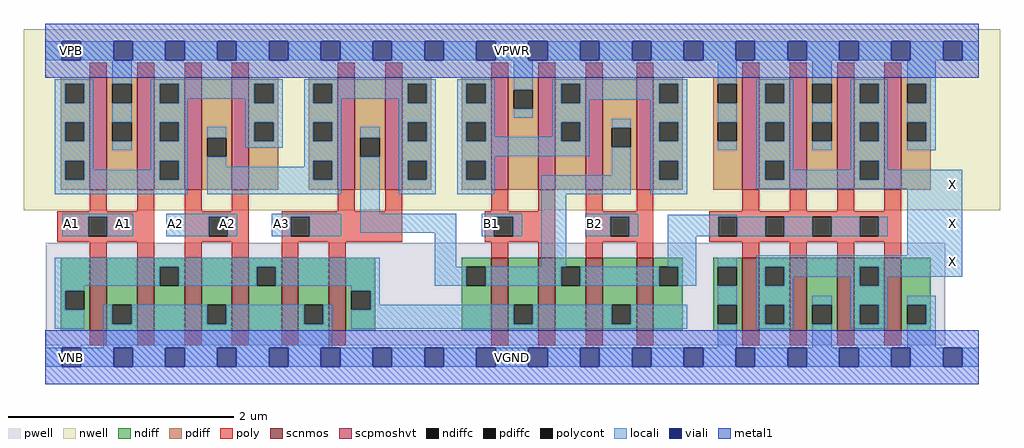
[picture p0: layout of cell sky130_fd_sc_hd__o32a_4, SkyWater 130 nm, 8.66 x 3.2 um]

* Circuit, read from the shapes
.subckt sky130_fd_sc_hd__o32a_4 A1 A2 A3 B1 B2 VGND VNB VPB VPWR X
XM1 VGND A1 n1 VNB sky130_fd_pr__nfet_01v8 w=0.65 l=0.15 m=2
XM2 VGND A2 n1 VNB sky130_fd_pr__nfet_01v8 w=0.65 l=0.15 m=2
XM3 VGND A3 n1 VNB sky130_fd_pr__nfet_01v8 w=0.65 l=0.15 m=2
XM4 n1 B1 n2 VNB sky130_fd_pr__nfet_01v8 w=0.65 l=0.15 m=2
XM5 n1 B2 n2 VNB sky130_fd_pr__nfet_01v8 w=0.65 l=0.15 m=2
XM6 X n2 VGND VNB sky130_fd_pr__nfet_01v8 w=0.65 l=0.15 m=4
XM7 VPWR A1 n3 VPB sky130_fd_pr__pfet_01v8_hvt w=1 l=0.15 m=2
XM8 n4 A2 n3 VPB sky130_fd_pr__pfet_01v8_hvt w=1 l=0.15 m=2
XM9 n2 A3 n4 VPB sky130_fd_pr__pfet_01v8_hvt w=1 l=0.15 m=2
XM10 VPWR B1 n5 VPB sky130_fd_pr__pfet_01v8_hvt w=1 l=0.15 m=2
XM11 n2 B2 n5 VPB sky130_fd_pr__pfet_01v8_hvt w=1 l=0.15 m=2
XM12 X n2 VPWR VPB sky130_fd_pr__pfet_01v8_hvt w=1 l=0.15 m=4
.ends

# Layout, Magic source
magic
tech sky130B
magscale 1 2
<< nwell >>
rect -38 261 1694 582
<< pwell >>
rect 1 21 1597 203
rect 30 -17 64 21
<< scnmos >>
rect 79 47 109 177
rect 163 47 193 177
rect 247 47 277 177
rect 331 47 361 177
rect 419 47 449 177
rect 503 47 533 177
rect 791 47 821 177
rect 875 47 905 177
rect 959 47 989 177
rect 1049 47 1079 177
rect 1237 47 1267 177
rect 1321 47 1351 177
rect 1405 47 1435 177
rect 1489 47 1519 177
<< scpmoshvt >>
rect 79 297 109 497
rect 163 297 193 497
rect 247 297 277 497
rect 331 297 361 497
rect 519 297 549 497
rect 603 297 633 497
rect 791 297 821 497
rect 875 297 905 497
rect 959 297 989 497
rect 1049 297 1079 497
rect 1237 297 1267 497
rect 1321 297 1351 497
rect 1405 297 1435 497
rect 1489 297 1519 497
<< ndiff >>
rect 27 118 79 177
rect 27 84 35 118
rect 69 84 79 118
rect 27 47 79 84
rect 109 93 163 177
rect 109 59 119 93
rect 153 59 163 93
rect 109 47 163 59
rect 193 161 247 177
rect 193 127 203 161
rect 237 127 247 161
rect 193 47 247 127
rect 277 93 331 177
rect 277 59 287 93
rect 321 59 331 93
rect 277 47 331 59
rect 361 161 419 177
rect 361 127 375 161
rect 409 127 419 161
rect 361 47 419 127
rect 449 93 503 177
rect 449 59 459 93
rect 493 59 503 93
rect 449 47 503 59
rect 533 118 585 177
rect 533 84 543 118
rect 577 84 585 118
rect 533 47 585 84
rect 739 161 791 177
rect 739 127 747 161
rect 781 127 791 161
rect 739 47 791 127
rect 821 93 875 177
rect 821 59 831 93
rect 865 59 875 93
rect 821 47 875 59
rect 905 161 959 177
rect 905 127 915 161
rect 949 127 959 161
rect 905 47 959 127
rect 989 93 1049 177
rect 989 59 1005 93
rect 1039 59 1049 93
rect 989 47 1049 59
rect 1079 161 1131 177
rect 1079 127 1089 161
rect 1123 127 1131 161
rect 1079 47 1131 127
rect 1185 161 1237 177
rect 1185 127 1193 161
rect 1227 127 1237 161
rect 1185 93 1237 127
rect 1185 59 1193 93
rect 1227 59 1237 93
rect 1185 47 1237 59
rect 1267 161 1321 177
rect 1267 127 1277 161
rect 1311 127 1321 161
rect 1267 93 1321 127
rect 1267 59 1277 93
rect 1311 59 1321 93
rect 1267 47 1321 59
rect 1351 93 1405 177
rect 1351 59 1361 93
rect 1395 59 1405 93
rect 1351 47 1405 59
rect 1435 161 1489 177
rect 1435 127 1445 161
rect 1479 127 1489 161
rect 1435 93 1489 127
rect 1435 59 1445 93
rect 1479 59 1489 93
rect 1435 47 1489 59
rect 1519 93 1571 177
rect 1519 59 1529 93
rect 1563 59 1571 93
rect 1519 47 1571 59
<< pdiff >>
rect 27 485 79 497
rect 27 451 35 485
rect 69 451 79 485
rect 27 417 79 451
rect 27 383 35 417
rect 69 383 79 417
rect 27 349 79 383
rect 27 315 35 349
rect 69 315 79 349
rect 27 297 79 315
rect 109 485 163 497
rect 109 451 119 485
rect 153 451 163 485
rect 109 417 163 451
rect 109 383 119 417
rect 153 383 163 417
rect 109 297 163 383
rect 193 485 247 497
rect 193 451 203 485
rect 237 451 247 485
rect 193 417 247 451
rect 193 383 203 417
rect 237 383 247 417
rect 193 349 247 383
rect 193 315 203 349
rect 237 315 247 349
rect 193 297 247 315
rect 277 390 331 497
rect 277 356 287 390
rect 321 356 331 390
rect 277 297 331 356
rect 361 485 413 497
rect 361 451 371 485
rect 405 451 413 485
rect 361 417 413 451
rect 361 383 371 417
rect 405 383 413 417
rect 361 297 413 383
rect 467 485 519 497
rect 467 451 475 485
rect 509 451 519 485
rect 467 417 519 451
rect 467 383 475 417
rect 509 383 519 417
rect 467 349 519 383
rect 467 315 475 349
rect 509 315 519 349
rect 467 297 519 315
rect 549 390 603 497
rect 549 356 559 390
rect 593 356 603 390
rect 549 297 603 356
rect 633 485 685 497
rect 633 451 643 485
rect 677 451 685 485
rect 633 417 685 451
rect 633 383 643 417
rect 677 383 685 417
rect 633 349 685 383
rect 633 315 643 349
rect 677 315 685 349
rect 633 297 685 315
rect 739 485 791 497
rect 739 451 747 485
rect 781 451 791 485
rect 739 417 791 451
rect 739 383 747 417
rect 781 383 791 417
rect 739 349 791 383
rect 739 315 747 349
rect 781 315 791 349
rect 739 297 791 315
rect 821 475 875 497
rect 821 441 831 475
rect 865 441 875 475
rect 821 297 875 441
rect 905 485 959 497
rect 905 451 915 485
rect 949 451 959 485
rect 905 417 959 451
rect 905 383 915 417
rect 949 383 959 417
rect 905 297 959 383
rect 989 407 1049 497
rect 989 373 1005 407
rect 1039 373 1049 407
rect 989 297 1049 373
rect 1079 485 1131 497
rect 1079 451 1089 485
rect 1123 451 1131 485
rect 1079 417 1131 451
rect 1079 383 1089 417
rect 1123 383 1131 417
rect 1079 349 1131 383
rect 1079 315 1089 349
rect 1123 315 1131 349
rect 1079 297 1131 315
rect 1185 485 1237 497
rect 1185 451 1193 485
rect 1227 451 1237 485
rect 1185 417 1237 451
rect 1185 383 1193 417
rect 1227 383 1237 417
rect 1185 297 1237 383
rect 1267 485 1321 497
rect 1267 451 1277 485
rect 1311 451 1321 485
rect 1267 417 1321 451
rect 1267 383 1277 417
rect 1311 383 1321 417
rect 1267 349 1321 383
rect 1267 315 1277 349
rect 1311 315 1321 349
rect 1267 297 1321 315
rect 1351 485 1405 497
rect 1351 451 1361 485
rect 1395 451 1405 485
rect 1351 417 1405 451
rect 1351 383 1361 417
rect 1395 383 1405 417
rect 1351 297 1405 383
rect 1435 485 1489 497
rect 1435 451 1445 485
rect 1479 451 1489 485
rect 1435 417 1489 451
rect 1435 383 1445 417
rect 1479 383 1489 417
rect 1435 349 1489 383
rect 1435 315 1445 349
rect 1479 315 1489 349
rect 1435 297 1489 315
rect 1519 485 1571 497
rect 1519 451 1529 485
rect 1563 451 1571 485
rect 1519 417 1571 451
rect 1519 383 1529 417
rect 1563 383 1571 417
rect 1519 297 1571 383
<< ndiffc >>
rect 35 84 69 118
rect 119 59 153 93
rect 203 127 237 161
rect 287 59 321 93
rect 375 127 409 161
rect 459 59 493 93
rect 543 84 577 118
rect 747 127 781 161
rect 831 59 865 93
rect 915 127 949 161
rect 1005 59 1039 93
rect 1089 127 1123 161
rect 1193 127 1227 161
rect 1193 59 1227 93
rect 1277 127 1311 161
rect 1277 59 1311 93
rect 1361 59 1395 93
rect 1445 127 1479 161
rect 1445 59 1479 93
rect 1529 59 1563 93
<< pdiffc >>
rect 35 451 69 485
rect 35 383 69 417
rect 35 315 69 349
rect 119 451 153 485
rect 119 383 153 417
rect 203 451 237 485
rect 203 383 237 417
rect 203 315 237 349
rect 287 356 321 390
rect 371 451 405 485
rect 371 383 405 417
rect 475 451 509 485
rect 475 383 509 417
rect 475 315 509 349
rect 559 356 593 390
rect 643 451 677 485
rect 643 383 677 417
rect 643 315 677 349
rect 747 451 781 485
rect 747 383 781 417
rect 747 315 781 349
rect 831 441 865 475
rect 915 451 949 485
rect 915 383 949 417
rect 1005 373 1039 407
rect 1089 451 1123 485
rect 1089 383 1123 417
rect 1089 315 1123 349
rect 1193 451 1227 485
rect 1193 383 1227 417
rect 1277 451 1311 485
rect 1277 383 1311 417
rect 1277 315 1311 349
rect 1361 451 1395 485
rect 1361 383 1395 417
rect 1445 451 1479 485
rect 1445 383 1479 417
rect 1445 315 1479 349
rect 1529 451 1563 485
rect 1529 383 1563 417
<< poly >>
rect 79 497 109 523
rect 163 497 193 523
rect 247 497 277 523
rect 331 497 361 523
rect 519 497 549 523
rect 603 497 633 523
rect 791 497 821 523
rect 875 497 905 523
rect 959 497 989 523
rect 1049 497 1079 523
rect 1237 497 1267 523
rect 1321 497 1351 523
rect 1405 497 1435 523
rect 1489 497 1519 523
rect 79 259 109 297
rect 163 259 193 297
rect 21 249 193 259
rect 21 215 76 249
rect 110 215 193 249
rect 21 205 193 215
rect 79 177 109 205
rect 163 177 193 205
rect 247 259 277 297
rect 331 259 361 297
rect 519 259 549 297
rect 603 259 633 297
rect 791 259 821 297
rect 875 259 905 297
rect 247 249 361 259
rect 247 215 290 249
rect 324 215 361 249
rect 247 205 361 215
rect 247 177 277 205
rect 331 177 361 205
rect 419 249 633 259
rect 419 215 435 249
rect 469 215 633 249
rect 419 205 633 215
rect 780 249 905 259
rect 780 215 796 249
rect 830 215 905 249
rect 780 205 905 215
rect 419 177 449 205
rect 503 177 533 205
rect 791 177 821 205
rect 875 177 905 205
rect 959 259 989 297
rect 1049 259 1079 297
rect 1237 259 1267 297
rect 1321 259 1351 297
rect 1405 259 1435 297
rect 1489 259 1519 297
rect 959 249 1079 259
rect 959 215 1002 249
rect 1036 215 1079 249
rect 959 205 1079 215
rect 1178 249 1519 259
rect 1178 215 1194 249
rect 1228 215 1277 249
rect 1311 215 1361 249
rect 1395 215 1445 249
rect 1479 215 1519 249
rect 1178 205 1519 215
rect 959 177 989 205
rect 1049 177 1079 205
rect 1237 177 1267 205
rect 1321 177 1351 205
rect 1405 177 1435 205
rect 1489 177 1519 205
rect 79 21 109 47
rect 163 21 193 47
rect 247 21 277 47
rect 331 21 361 47
rect 419 21 449 47
rect 503 21 533 47
rect 791 21 821 47
rect 875 21 905 47
rect 959 21 989 47
rect 1049 21 1079 47
rect 1237 21 1267 47
rect 1321 21 1351 47
rect 1405 21 1435 47
rect 1489 21 1519 47
<< polycont >>
rect 76 215 110 249
rect 290 215 324 249
rect 435 215 469 249
rect 796 215 830 249
rect 1002 215 1036 249
rect 1194 215 1228 249
rect 1277 215 1311 249
rect 1361 215 1395 249
rect 1445 215 1479 249
<< locali >>
rect 0 527 29 561
rect 63 527 121 561
rect 155 527 213 561
rect 247 527 305 561
rect 339 527 397 561
rect 431 527 489 561
rect 523 527 581 561
rect 615 527 673 561
rect 707 527 765 561
rect 799 527 857 561
rect 891 527 949 561
rect 983 527 1041 561
rect 1075 527 1133 561
rect 1167 527 1225 561
rect 1259 527 1317 561
rect 1351 527 1409 561
rect 1443 527 1501 561
rect 1535 527 1593 561
rect 1627 527 1656 561
rect 17 485 85 493
rect 17 451 35 485
rect 69 451 85 485
rect 17 417 85 451
rect 17 383 35 417
rect 69 383 85 417
rect 17 349 85 383
rect 119 485 153 527
rect 119 417 153 451
rect 119 367 153 383
rect 187 485 421 493
rect 187 451 203 485
rect 237 459 371 485
rect 237 451 253 459
rect 187 417 253 451
rect 187 383 203 417
rect 237 383 253 417
rect 355 451 371 459
rect 405 451 421 485
rect 355 417 421 451
rect 17 315 35 349
rect 69 333 85 349
rect 187 349 253 383
rect 187 333 203 349
rect 69 315 203 333
rect 237 315 253 349
rect 17 289 253 315
rect 287 390 321 409
rect 355 383 371 417
rect 405 383 421 417
rect 355 372 421 383
rect 459 485 693 493
rect 459 451 475 485
rect 509 459 643 485
rect 509 451 525 459
rect 459 417 525 451
rect 459 383 475 417
rect 509 383 525 417
rect 627 451 643 459
rect 677 451 693 485
rect 627 417 693 451
rect 287 338 321 356
rect 459 349 525 383
rect 459 338 475 349
rect 287 315 475 338
rect 509 315 525 349
rect 287 289 525 315
rect 559 390 593 409
rect 559 255 593 356
rect 627 383 643 417
rect 677 383 693 417
rect 627 349 693 383
rect 627 315 643 349
rect 677 315 693 349
rect 627 289 693 315
rect 731 485 797 493
rect 731 451 747 485
rect 781 451 797 485
rect 731 417 797 451
rect 831 475 865 527
rect 831 425 865 441
rect 899 485 1139 493
rect 899 451 915 485
rect 949 457 1089 485
rect 949 451 965 457
rect 731 383 747 417
rect 781 391 797 417
rect 899 417 965 451
rect 1073 451 1089 457
rect 1123 451 1139 485
rect 899 391 915 417
rect 781 383 915 391
rect 949 383 965 417
rect 731 357 965 383
rect 1005 407 1039 423
rect 731 349 797 357
rect 731 315 747 349
rect 781 315 797 349
rect 1005 323 1039 373
rect 731 289 797 315
rect 880 289 1039 323
rect 1073 417 1139 451
rect 1073 383 1089 417
rect 1123 383 1139 417
rect 1073 349 1139 383
rect 1193 485 1227 527
rect 1193 417 1227 451
rect 1193 367 1227 383
rect 1261 485 1327 493
rect 1261 451 1277 485
rect 1311 451 1327 485
rect 1261 417 1327 451
rect 1261 383 1277 417
rect 1311 383 1327 417
rect 1073 315 1089 349
rect 1123 315 1139 349
rect 1073 289 1139 315
rect 1261 349 1327 383
rect 1361 485 1395 527
rect 1361 417 1395 451
rect 1361 367 1395 383
rect 1429 485 1495 493
rect 1429 451 1445 485
rect 1479 451 1495 485
rect 1429 417 1495 451
rect 1429 383 1445 417
rect 1479 383 1495 417
rect 1261 315 1277 349
rect 1311 333 1327 349
rect 1429 349 1495 383
rect 1529 485 1580 527
rect 1563 451 1580 485
rect 1529 417 1580 451
rect 1563 383 1580 417
rect 1529 367 1580 383
rect 1429 333 1445 349
rect 1311 315 1445 333
rect 1479 333 1495 349
rect 1479 315 1627 333
rect 1261 299 1627 315
rect 30 249 156 255
rect 30 215 76 249
rect 110 215 156 249
rect 214 249 340 255
rect 214 215 290 249
rect 324 215 340 249
rect 402 249 525 255
rect 402 215 435 249
rect 469 215 525 249
rect 559 221 729 255
rect 17 161 593 177
rect 17 127 203 161
rect 237 127 375 161
rect 409 127 593 161
rect 691 161 729 221
rect 774 249 846 255
rect 774 215 796 249
rect 830 215 846 249
rect 880 161 924 289
rect 958 249 1052 255
rect 958 215 1002 249
rect 1036 215 1052 249
rect 1104 249 1227 253
rect 1104 215 1194 249
rect 1228 215 1277 249
rect 1311 215 1361 249
rect 1395 215 1445 249
rect 1479 215 1495 249
rect 1104 161 1155 215
rect 1529 181 1627 299
rect 691 127 747 161
rect 781 127 915 161
rect 949 127 1089 161
rect 1123 127 1155 161
rect 1193 161 1227 177
rect 17 118 69 127
rect 17 84 35 118
rect 543 118 593 127
rect 17 51 69 84
rect 103 59 119 93
rect 153 59 287 93
rect 321 59 459 93
rect 493 59 509 93
rect 103 17 509 59
rect 577 93 593 118
rect 1193 93 1227 127
rect 577 84 831 93
rect 543 59 831 84
rect 865 59 1005 93
rect 1039 59 1139 93
rect 543 51 1139 59
rect 1193 17 1227 59
rect 1261 161 1627 181
rect 1261 127 1277 161
rect 1311 143 1445 161
rect 1311 127 1327 143
rect 1261 93 1327 127
rect 1429 127 1445 143
rect 1479 143 1627 161
rect 1479 127 1495 143
rect 1261 59 1277 93
rect 1311 59 1327 93
rect 1261 51 1327 59
rect 1361 93 1395 109
rect 1361 17 1395 59
rect 1429 93 1495 127
rect 1429 59 1445 93
rect 1479 59 1495 93
rect 1429 51 1495 59
rect 1529 93 1580 109
rect 1563 59 1580 93
rect 1529 17 1580 59
rect 0 -17 29 17
rect 63 -17 121 17
rect 155 -17 213 17
rect 247 -17 305 17
rect 339 -17 397 17
rect 431 -17 489 17
rect 523 -17 581 17
rect 615 -17 673 17
rect 707 -17 765 17
rect 799 -17 857 17
rect 891 -17 949 17
rect 983 -17 1041 17
rect 1075 -17 1133 17
rect 1167 -17 1225 17
rect 1259 -17 1317 17
rect 1351 -17 1409 17
rect 1443 -17 1501 17
rect 1535 -17 1593 17
rect 1627 -17 1656 17
<< viali >>
rect 29 527 63 561
rect 121 527 155 561
rect 213 527 247 561
rect 305 527 339 561
rect 397 527 431 561
rect 489 527 523 561
rect 581 527 615 561
rect 673 527 707 561
rect 765 527 799 561
rect 857 527 891 561
rect 949 527 983 561
rect 1041 527 1075 561
rect 1133 527 1167 561
rect 1225 527 1259 561
rect 1317 527 1351 561
rect 1409 527 1443 561
rect 1501 527 1535 561
rect 1593 527 1627 561
rect 29 -17 63 17
rect 121 -17 155 17
rect 213 -17 247 17
rect 305 -17 339 17
rect 397 -17 431 17
rect 489 -17 523 17
rect 581 -17 615 17
rect 673 -17 707 17
rect 765 -17 799 17
rect 857 -17 891 17
rect 949 -17 983 17
rect 1041 -17 1075 17
rect 1133 -17 1167 17
rect 1225 -17 1259 17
rect 1317 -17 1351 17
rect 1409 -17 1443 17
rect 1501 -17 1535 17
rect 1593 -17 1627 17
<< metal1 >>
rect 0 561 1656 592
rect 0 527 29 561
rect 63 527 121 561
rect 155 527 213 561
rect 247 527 305 561
rect 339 527 397 561
rect 431 527 489 561
rect 523 527 581 561
rect 615 527 673 561
rect 707 527 765 561
rect 799 527 857 561
rect 891 527 949 561
rect 983 527 1041 561
rect 1075 527 1133 561
rect 1167 527 1225 561
rect 1259 527 1317 561
rect 1351 527 1409 561
rect 1443 527 1501 561
rect 1535 527 1593 561
rect 1627 527 1656 561
rect 0 496 1656 527
rect 0 17 1656 48
rect 0 -17 29 17
rect 63 -17 121 17
rect 155 -17 213 17
rect 247 -17 305 17
rect 339 -17 397 17
rect 431 -17 489 17
rect 523 -17 581 17
rect 615 -17 673 17
rect 707 -17 765 17
rect 799 -17 857 17
rect 891 -17 949 17
rect 983 -17 1041 17
rect 1075 -17 1133 17
rect 1167 -17 1225 17
rect 1259 -17 1317 17
rect 1351 -17 1409 17
rect 1443 -17 1501 17
rect 1535 -17 1593 17
rect 1627 -17 1656 17
rect 0 -48 1656 -17
<< labels >>
flabel locali s 1593 153 1627 187 0 FreeSans 200 0 0 0 X
port 10 nsew signal output
flabel locali s 1593 221 1627 255 0 FreeSans 200 0 0 0 X
port 10 nsew signal output
flabel locali s 1593 289 1627 323 0 FreeSans 200 0 0 0 X
port 10 nsew signal output
flabel locali s 958 221 992 255 0 FreeSans 200 0 0 0 B2
port 5 nsew signal input
flabel locali s 122 221 156 255 0 FreeSans 200 0 0 0 A1
port 1 nsew signal input
flabel locali s 30 221 64 255 0 FreeSans 200 0 0 0 A1
port 1 nsew signal input
flabel locali s 214 221 248 255 0 FreeSans 200 0 0 0 A2
port 2 nsew signal input
flabel locali s 306 221 340 255 0 FreeSans 200 0 0 0 A2
port 2 nsew signal input
flabel locali s 402 221 436 255 0 FreeSans 200 0 0 0 A3
port 3 nsew signal input
flabel locali s 774 221 808 255 0 FreeSans 200 0 0 0 B1
port 4 nsew signal input
flabel pwell s 30 -17 64 17 0 FreeSans 200 0 0 0 VNB
port 7 nsew ground bidirectional
flabel nwell s 30 527 64 561 0 FreeSans 200 0 0 0 VPB
port 8 nsew power bidirectional
flabel metal1 s 30 -17 64 17 0 FreeSans 200 0 0 0 VGND
port 6 nsew ground bidirectional abutment
flabel metal1 s 30 527 64 561 0 FreeSans 200 0 0 0 VPWR
port 9 nsew power bidirectional abutment
rlabel comment s 0 0 0 0 4 o32a_4
rlabel metal1 s 0 -48 1656 48 1 VGND
port 6 nsew ground bidirectional abutment
rlabel metal1 s 0 496 1656 592 1 VPWR
port 9 nsew power bidirectional abutment
<< properties >>
string FIXED_BBOX 0 0 1656 544
string GDS_END 1476074
string GDS_FILE $PDKPATH/libs.ref/sky130_fd_sc_hd/gds/sky130_fd_sc_hd.gds
string GDS_START 1463826
string LEFclass CORE
string LEFsite unithd
string LEFsymmetry X Y R90
string path 0.000 0.000 8.280 0.000 
<< end >>
